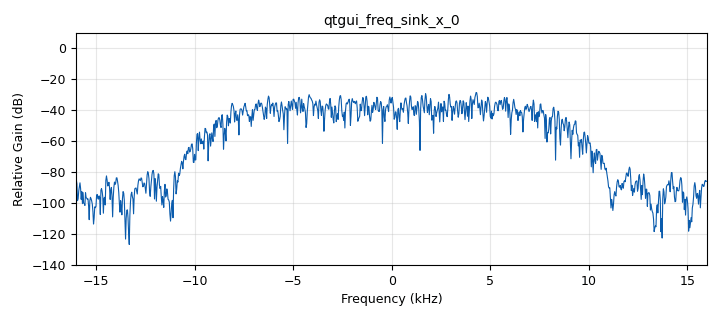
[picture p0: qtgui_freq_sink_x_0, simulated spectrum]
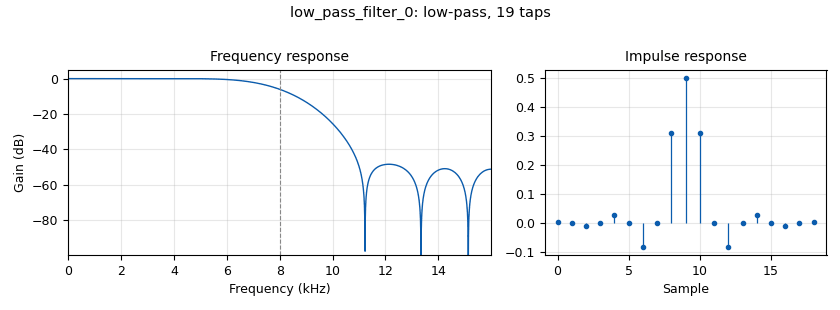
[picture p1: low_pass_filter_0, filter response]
options:
  parameters:
    author: Ivan Voronov
    generate_options: qt_gui
    id: filterNoiseVoronov
    output_language: python
    title: Low Pass Filter Example
  states: {}

blocks:
- name: frequency
  id: variable_qtgui_range
  parameters:
    start: '1'
    step: '1'
    stop: samp_rate/2
    value: samp_rate/4
  states: {}
- name: samp_rate
  id: variable
  parameters:
    value: '32000'
  states: {}
- name: width
  id: variable_qtgui_range
  parameters:
    start: '1'
    step: '1'
    stop: samp_rate/4
    value: '4000'
  states: {}
- name: analog_noise_source_x_0
  id: analog_noise_source_x
  parameters:
    amp: '1'
    noise_type: analog.GR_GAUSSIAN
    seed: '0'
    type: complex
  states: {}
- name: blocks_throttle2_0
  id: blocks_throttle2
  parameters:
    samples_per_second: samp_rate
    type: complex
  states: {}
- name: low_pass_filter_0
  id: low_pass_filter
  parameters:
    cutoff_freq: frequency
    decim: '1'
    gain: '1'
    samp_rate: samp_rate
    type: fir_filter_ccf
    width: width
    win: window.WIN_HAMMING
  states: {}
- name: qtgui_freq_sink_x_0
  id: qtgui_freq_sink_x
  parameters:
    bw: samp_rate
    fc: '0'
    fftsize: '1024'
    type: complex
  states: {}

connections:
- [analog_noise_source_x_0, '0', low_pass_filter_0, '0']
- [blocks_throttle2_0, '0', qtgui_freq_sink_x_0, '0']
- [low_pass_filter_0, '0', blocks_throttle2_0, '0']

metadata:
  file_format: 1
  grc_version: 3.10.7.0
